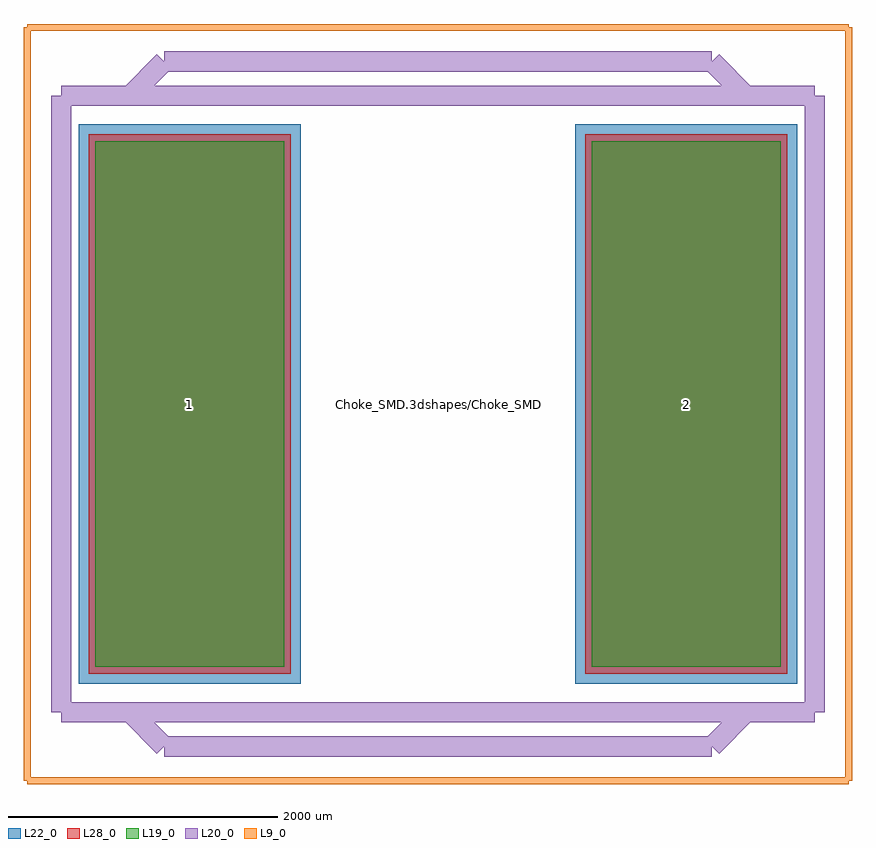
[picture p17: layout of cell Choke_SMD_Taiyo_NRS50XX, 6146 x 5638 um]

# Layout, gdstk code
import gdstk
lib = gdstk.Library(unit=1e-6, precision=1e-09)
def R(c, l, rs):  # rectangles x0, y0, x1, y1
    for r in rs: c.add(gdstk.rectangle(r[:2], r[2:], *l))
L9_0 = (9, 0)
L19_0 = (19, 0)
L20_0 = (20, 0)
L22_0 = (22, 0)
L28_0 = (28, 0)

choke_smd_taiyo_nrs50xx = lib.new_cell('Choke_SMD_Taiyo_NRS50XX')
R(choke_smd_taiyo_nrs50xx, L19_0, [(-2541.5,-1950,-1141.5,1950), (1141.5,-1950,2541.5,1950)])
R(choke_smd_taiyo_nrs50xx, L22_0, [(-2666.5,-2075,-1016.5,2075), (1016.5,-2075,2666.5,2075)])
R(choke_smd_taiyo_nrs50xx, L28_0, [(-2591.5,-2000,-1091.5,2000), (1091.5,-2000,2591.5,2000)])
choke_smd_taiyo_nrs50xx.add(gdstk.FlexPath([(-2032,-2540),(-2286,-2286)], 149.998, ends="flush", simple_path=True, layer=20, datatype=0))  # L20_0
choke_smd_taiyo_nrs50xx.add(gdstk.FlexPath([(-1778,-2540),(-2032,-2540)], 149.998, ends="flush", simple_path=True, layer=20, datatype=0))  # L20_0
choke_smd_taiyo_nrs50xx.add(gdstk.FlexPath([(2032,-2540),(-1778,-2540)], 149.998, ends="flush", simple_path=True, layer=20, datatype=0))  # L20_0
choke_smd_taiyo_nrs50xx.add(gdstk.FlexPath([(2286,-2286),(2032,-2540)], 149.998, ends="flush", simple_path=True, layer=20, datatype=0))  # L20_0
choke_smd_taiyo_nrs50xx.add(gdstk.FlexPath([(2032,2540),(2286,2286)], 149.998, ends="flush", simple_path=True, layer=20, datatype=0))  # L20_0
choke_smd_taiyo_nrs50xx.add(gdstk.FlexPath([(-2032,2540),(2032,2540)], 149.998, ends="flush", simple_path=True, layer=20, datatype=0))  # L20_0
choke_smd_taiyo_nrs50xx.add(gdstk.FlexPath([(-2286,2286),(-2032,2540)], 149.998, ends="flush", simple_path=True, layer=20, datatype=0))  # L20_0
choke_smd_taiyo_nrs50xx.add(gdstk.FlexPath([(-2286,2286),(2286,2286)], 149.998, ends="flush", simple_path=True, layer=20, datatype=0))  # L20_0
choke_smd_taiyo_nrs50xx.add(gdstk.FlexPath([(-2286,-2286),(2286,-2286)], 149.998, ends="flush", simple_path=True, layer=20, datatype=0))  # L20_0
choke_smd_taiyo_nrs50xx.add(gdstk.FlexPath([(2286,2286),(2794,2286)], 149.998, ends="flush", simple_path=True, layer=20, datatype=0))  # L20_0
choke_smd_taiyo_nrs50xx.add(gdstk.FlexPath([(2794,-2286),(2286,-2286)], 149.998, ends="flush", simple_path=True, layer=20, datatype=0))  # L20_0
choke_smd_taiyo_nrs50xx.add(gdstk.FlexPath([(2794,2286),(2794,-2286)], 149.998, ends="flush", simple_path=True, layer=20, datatype=0))  # L20_0
choke_smd_taiyo_nrs50xx.add(gdstk.FlexPath([(-2794,-2286),(-2286,-2286)], 149.998, ends="flush", simple_path=True, layer=20, datatype=0))  # L20_0
choke_smd_taiyo_nrs50xx.add(gdstk.FlexPath([(-2794,2286),(-2794,-2286)], 149.998, ends="flush", simple_path=True, layer=20, datatype=0))  # L20_0
choke_smd_taiyo_nrs50xx.add(gdstk.FlexPath([(-2286,2286),(-2794,2286)], 149.998, ends="flush", simple_path=True, layer=20, datatype=0))  # L20_0
choke_smd_taiyo_nrs50xx.add(gdstk.FlexPath([(-3048,-2794),(-3048,2794)], 50, ends="flush", simple_path=True, layer=9, datatype=0))  # L9_0
choke_smd_taiyo_nrs50xx.add(gdstk.FlexPath([(3048,-2794),(-3048,-2794)], 50, ends="flush", simple_path=True, layer=9, datatype=0))  # L9_0
choke_smd_taiyo_nrs50xx.add(gdstk.FlexPath([(3048,2794),(3048,-2794)], 50, ends="flush", simple_path=True, layer=9, datatype=0))  # L9_0
choke_smd_taiyo_nrs50xx.add(gdstk.FlexPath([(-3048,2794),(3048,2794)], 50, ends="flush", simple_path=True, layer=9, datatype=0))  # L9_0
choke_smd_taiyo_nrs50xx.add(gdstk.Label('Choke_SMD.3dshapes/Choke_SMD_Taiyo_NRS50XX.wrl', (0,0), layer=12, texttype=0))
choke_smd_taiyo_nrs50xx.add(gdstk.Label('2', (1841.5,0), layer=28, texttype=0))
choke_smd_taiyo_nrs50xx.add(gdstk.Label('1', (-1841.5,0), layer=28, texttype=0))
choke_smd_taiyo_nrs50xx.add(gdstk.Label('type', (0,-3810), layer=9, texttype=0))
choke_smd_taiyo_nrs50xx.add(gdstk.Label('devicename', (0,3810), layer=9, texttype=0))

lib.write_gds('Choke_SMD_Taiyo_NRS50XX.gds')
